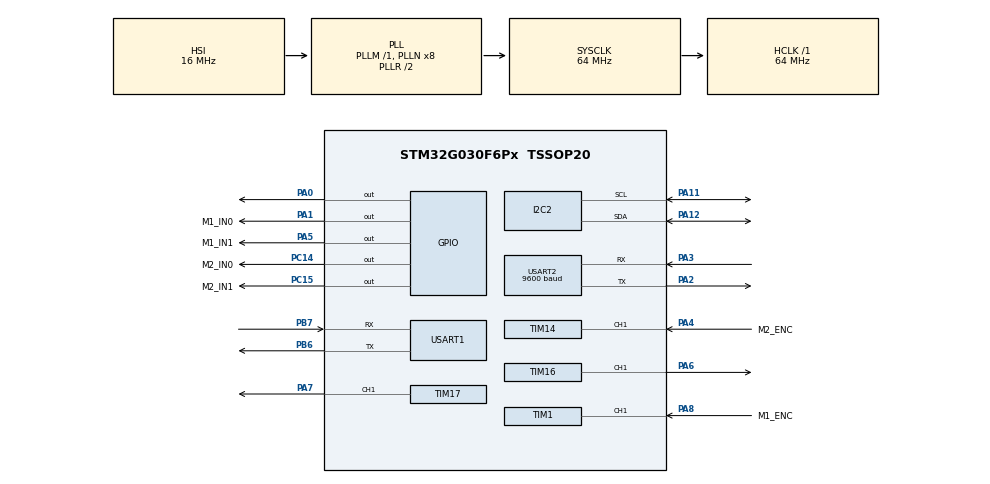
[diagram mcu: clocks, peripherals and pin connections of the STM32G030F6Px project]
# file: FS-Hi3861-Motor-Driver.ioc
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Dma.Request0=USART1_RX
Dma.USART1_RX.0.Direction=DMA_PERIPH_TO_MEMORY
Dma.USART1_RX.0.EventEnable=DISABLE
Dma.USART1_RX.0.Instance=DMA1_Channel1
Dma.USART1_RX.0.MemDataAlignment=DMA_MDATAALIGN_BYTE
Dma.USART1_RX.0.MemInc=DMA_MINC_ENABLE
Dma.USART1_RX.0.Mode=DMA_NORMAL
Dma.USART1_RX.0.PeriphDataAlignment=DMA_PDATAALIGN_BYTE
Dma.USART1_RX.0.PeriphInc=DMA_PINC_DISABLE
Dma.USART1_RX.0.Polarity=HAL_DMAMUX_REQ_GEN_RISING
Dma.USART1_RX.0.Priority=DMA_PRIORITY_LOW
Dma.USART1_RX.0.RequestNumber=1
Dma.USART1_RX.0.SignalID=NONE
Dma.USART1_RX.0.SyncEnable=DISABLE
Dma.USART1_RX.0.SyncPolarity=HAL_DMAMUX_SYNC_NO_EVENT
Dma.USART1_RX.0.SyncRequestNumber=1
Dma.USART1_RX.0.SyncSignalID=NONE
I2C2.Timing=0x10707DBC
Mcu.Family=STM32G0
Mcu.Name=STM32G030F6Px
Mcu.Package=TSSOP20
NVIC.DMA1_Channel1_IRQn=true\:0\:0\:false\:false\:true\:false\:true\:true
NVIC.TIM14_IRQn=true\:1\:0\:true\:false\:true\:true\:true\:true
NVIC.TIM1_CC_IRQn=true\:1\:0\:true\:false\:true\:true\:true\:true
NVIC.TIM3_IRQn=true\:0\:0\:true\:false\:true\:true\:true\:true
NVIC.USART1_IRQn=true\:0\:0\:false\:false\:true\:true\:true\:true
NVIC.USART2_IRQn=true\:0\:0\:false\:false\:true\:true\:true\:true
PA0.Signal=GPIO_Output
PA1.GPIO_Label=M1_IN0
PA1.Signal=GPIO_Output
PA11\ [PA9].GPIO_Pu=GPIO_PULLUP
PA11\ [PA9].Mode=I2C
PA11\ [PA9].Signal=I2C2_SCL
PA12\ [PA10].GPIO_Pu=GPIO_PULLUP
PA12\ [PA10].Mode=I2C
PA12\ [PA10].Signal=I2C2_SDA
PA13.Mode=Serial_Wire
PA13.Signal=SYS_SWDIO
PA14-BOOT0.Mode=Serial_Wire
PA14-BOOT0.Signal=SYS_SWCLK
PA14-BOOT0__PA15.StandardMode=true
PA2.Mode=Asynchronous
PA2.Signal=USART2_TX
PA3.Mode=Asynchronous
PA3.Signal=USART2_RX
PA4.GPIO_Label=M2_ENC
PA4.GPIO_PuPd=GPIO_NOPULL
PA4.GPIO_Speed=GPIO_SPEED_FREQ_HIGH
PA4.Signal=S_TIM14_CH1
PA5.GPIO_Label=M1_IN1
PA5.Signal=GPIO_Output
PA6.Signal=S_TIM16_CH1
PA7.Signal=S_TIM17_CH1
PA8.GPIO_Label=M1_ENC
PA8.GPIO_PuPd=GPIO_NOPULL
PA8.GPIO_Speed=GPIO_SPEED_FREQ_HIGH
PA8.Signal=S_TIM1_CH1
PB0__PB1__PB2__PA8.StandardMode=true
PB3__PB4__PB5__PB6.StandardMode=true
PB6.Mode=Asynchronous
PB6.Signal=USART1_TX
PB7.Mode=Asynchronous
PB7.Signal=USART1_RX
PB7__PB8.StandardMode=true
PC14-OSC32_IN\ (PC14).GPIO_Label=M2_IN0
PC14-OSC32_IN\ (PC14).Signal=GPIO_Output
PC14-OSC32_IN\ (PC14)__PB9.StandardMode=true
PC15-OSC32_OUT\ (PC15).GPIO_Label=M2_IN1
PC15-OSC32_OUT\ (PC15).Signal=GPIO_Output
ProjectManager.HeapSize=0x400
ProjectManager.StackSize=0x400
ProjectManager.TargetToolchain=MDK-ARM V5.27
RCC.ADCFreq_Value=64000000
RCC.AHBFreq_Value=64000000
RCC.CortexFreq_Value=64000000
RCC.EXTERNAL_CLOCK_VALUE=12288000
RCC.HCLKFreq_Value=64000000
RCC.HSE_VALUE=8000000
RCC.HSI_VALUE=16000000
RCC.LSE_VALUE=32768
RCC.SYSCLKFreq_VALUE=64000000
RCC.SYSCLKSource=RCC_SYSCLKSOURCE_PLLCLK
RCC.VCOOutputFreq_Value=128000000
SH.S_TIM14_CH1.0=TIM14_CH1,Input_Capture1_from_TI1
SH.S_TIM16_CH1.0=TIM16_CH1,PWM Generation1 CH1
SH.S_TIM17_CH1.0=TIM17_CH1,PWM Generation1 CH1
SH.S_TIM1_CH1.0=TIM1_CH1,Input_Capture1_from_TI1
TIM1.AutoReloadPreload=TIM_AUTORELOAD_PRELOAD_DISABLE
TIM1.Channel-Input_Capture1_from_TI1=TIM_CHANNEL_1
TIM1.ICPolarity_CH1=TIM_INPUTCHANNELPOLARITY_BOTHEDGE
TIM1.Period=0
TIM1.Prescaler=0
TIM14.AutoReloadPreload=TIM_AUTORELOAD_PRELOAD_ENABLE
TIM14.Channel=TIM_CHANNEL_1
TIM14.ICPolarity_CH1=TIM_INPUTCHANNELPOLARITY_BOTHEDGE
TIM14.Period=0
TIM14.Prescaler=0
TIM16.Channel=TIM_CHANNEL_1
TIM16.Period=1000-1
TIM16.Prescaler=64-1
TIM17.Channel=TIM_CHANNEL_1
TIM17.Period=1000-1
TIM17.Prescaler=64-1
TIM17.Pulse=0
TIM3.AutoReloadPreload=TIM_AUTORELOAD_PRELOAD_ENABLE
TIM3.Period=100-1
TIM3.Prescaler=6400-1
USART1.VirtualMode-Asynchronous=VM_ASYNC
USART2.BaudRate=9600
USART2.VirtualMode-Asynchronous=VM_ASYNC
VP_TIM14_VS_ClockSourceINT.Mode=Enable_Timer
VP_TIM16_VS_ClockSourceINT.Mode=Enable_Timer
VP_TIM17_VS_ClockSourceINT.Mode=Enable_Timer
VP_TIM3_VS_ClockSourceINT.Mode=Internal
board=custom

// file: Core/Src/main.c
/* USER CODE BEGIN Header */
/**
  ******************************************************************************
  * @file           : main.c
  * @brief          : Main program body
  ******************************************************************************
  * @attention
  *
  * Copyright (c) 2024 STMicroelectronics.
  * All rights reserved.
  *
  * This software is licensed under terms that can be found in the LICENSE file
  * in the root directory of this software component.
  * If no LICENSE file comes with this software, it is provided AS-IS.
  *
  ******************************************************************************
  */
/* USER CODE END Header */
#include "main.h"
#include "dma.h"
#include "i2c.h"
#include "tim.h"
#include "usart.h"
#include "gpio.h"

/* USER CODE BEGIN Includes */
#include <string.h>
#include "bsp_ina219.h"
#include "system_cfg.h"
#include "app_motor.h"
/* USER CODE END Includes */

/* USER CODE BEGIN PV */
UARTx_DMA_RECEIVE_STRUCT Usart1DMAReceive;  // 串口1接收不定长的数据
ts_SystemValue_t systemValue = {.car_status = CAR_STATUS_OFF,};
uint8_t distance_buff[4] = {0};
uint8_t UART2Rxdata[2] =  {0};
//
uint8_t distance_send_data = 0xFF;
/* USER CODE END PV */

void SystemClock_Config(void);

int main(void)
{

  /* MCU Configuration--------------------------------------------------------*/

  /* Reset of all peripherals, Initializes the Flash interface and the Systick. */
  HAL_Init();

  /* Configure the system clock */
  SystemClock_Config();

  /* Initialize all configured peripherals */
  MX_GPIO_Init();
  MX_DMA_Init();
  MX_USART2_UART_Init();
  MX_I2C2_Init();
  MX_TIM1_Init();
  MX_TIM3_Init();
  MX_TIM14_Init();
  MX_USART1_UART_Init();
  MX_TIM16_Init();
  MX_TIM17_Init();
  /* USER CODE BEGIN 2 */
  console_log_info("-------------start UPS Test-------------");

  /* 初始化编码定时器 */
	PID_init();	//PID参数初始化
  motor_encoder_init();

  /* 开启电机 PWM 输出 */
  HAL_TIM_PWM_Start(&htim16, TIM_CHANNEL_1);
  HAL_TIM_PWM_Start(&htim17, TIM_CHANNEL_1);

  /* 电源检测芯片初始化 */
  INA219_Init();

  /* 开启定时器3中断 */
  HAL_TIM_Base_Start_IT(&htim3);

	/* 开启串口2的接收中断 */
  __HAL_UART_ENABLE_IT(&huart2, UART_IT_IDLE); // 开启串口2的空闲中断
  __HAL_UART_CLEAR_IDLEFLAG(&huart2);
	HAL_UART_Receive_IT(&huart2, UART2Rxdata, 1);

  /* 开启串口1的空闲中断 */
  __HAL_UART_ENABLE_IT(&huart1, UART_IT_IDLE); // 开启串口1的空闲中断
  __HAL_UART_CLEAR_IDLEFLAG(&huart1);
  HAL_UART_Receive_DMA(&huart1, Usart1DMAReceive.UsartDMARecBuffer, USART_DMA_REC_SIE);
  /* USER CODE END 2 */

  /* Infinite loop */
  /* USER CODE BEGIN WHILE */
  uint32_t last_telemetry_tick = 0;
  while (1)
  {
    // 串口1 接收不定长数据, 并进行解析数据
    if(Usart1DMAReceive.UsartRecFlag)
	  {
		  // 解析JSON数据 (屏蔽日志以减少对通信的干扰)
		  parse_json_data(Usart1DMAReceive.UsartRecBuffer, Usart1DMAReceive.UsartRecLen);
		  Usart1DMAReceive.UsartRecFlag = 0;
		  Usart1DMAReceive.UsartRecLen = 0;
		  memset(Usart1DMAReceive.UsartRecBuffer, 0, sizeof(Usart1DMAReceive.UsartRecBuffer));
	  }

    // 采集数据 (使用差值判断，确保不会错过发送窗口)
    if(HAL_GetTick() - last_telemetry_tick >= 100)
    {
      last_telemetry_tick = HAL_GetTick();

		  // 采集超声波传感器的值，必须大于70ms
		  HAL_UART_Transmit(&huart2, (uint8_t *)&distance_send_data, 1, 100);

      // 发送电机速度给传感器板用于转向灯
      send_speed_to_sensor();

		  systemValue.battery = INA219_get_bus_voltage_mv();
		  // 打包JSON数据
		  packet_json_data(&systemValue);
    }

	  // 系统运行指示灯
	  if(!(HAL_GetTick() % 200))
	  {
		  HAL_GPIO_TogglePin(GPIOA, GPIO_PIN_0);
	  }
    /* USER CODE END WHILE */

  }
}

void SystemClock_Config(void)
{
  RCC_OscInitTypeDef RCC_OscInitStruct = {0};
  RCC_ClkInitTypeDef RCC_ClkInitStruct = {0};

  /** Configure the main internal regulator output voltage
  */
  HAL_PWREx_ControlVoltageScaling(PWR_REGULATOR_VOLTAGE_SCALE1);

  /** Initializes the RCC Oscillators according to the specified parameters
  * in the RCC_OscInitTypeDef structure.
  */
  RCC_OscInitStruct.OscillatorType = RCC_OSCILLATORTYPE_HSI;
  RCC_OscInitStruct.HSIState = RCC_HSI_ON;
  RCC_OscInitStruct.HSIDiv = RCC_HSI_DIV1;
  RCC_OscInitStruct.HSICalibrationValue = RCC_HSICALIBRATION_DEFAULT;
  RCC_OscInitStruct.PLL.PLLState = RCC_PLL_ON;
  RCC_OscInitStruct.PLL.PLLSource = RCC_PLLSOURCE_HSI;
  RCC_OscInitStruct.PLL.PLLM = RCC_PLLM_DIV1;
  RCC_OscInitStruct.PLL.PLLN = 8;
  RCC_OscInitStruct.PLL.PLLP = RCC_PLLP_DIV2;
  RCC_OscInitStruct.PLL.PLLR = RCC_PLLR_DIV2;
  if (HAL_RCC_OscConfig(&RCC_OscInitStruct) != HAL_OK)
  {
    Error_Handler();
  }

  /** Initializes the CPU, AHB and APB buses clocks
  */
  RCC_ClkInitStruct.ClockType = RCC_CLOCKTYPE_HCLK|RCC_CLOCKTYPE_SYSCLK
                              |RCC_CLOCKTYPE_PCLK1;
  RCC_ClkInitStruct.SYSCLKSource = RCC_SYSCLKSOURCE_PLLCLK;
  RCC_ClkInitStruct.AHBCLKDivider = RCC_SYSCLK_DIV1;
  RCC_ClkInitStruct.APB1CLKDivider = RCC_HCLK_DIV1;

  if (HAL_RCC_ClockConfig(&RCC_ClkInitStruct, FLASH_LATENCY_2) != HAL_OK)
  {
    Error_Handler();
  }
}

/* USER CODE BEGIN 4 */
int fputc(int ch, FILE *f)
{
  // 彻底禁用调试日志打印，确保 UART1 仅用于 JSON 通信
  // HAL_UART_Transmit(&huart1, (uint8_t *)&ch, 1, 10);
  return ch;
}
/* USER CODE END 4 */

void Error_Handler(void)
{
  __disable_irq();
  while (1)
  {
  }
}
